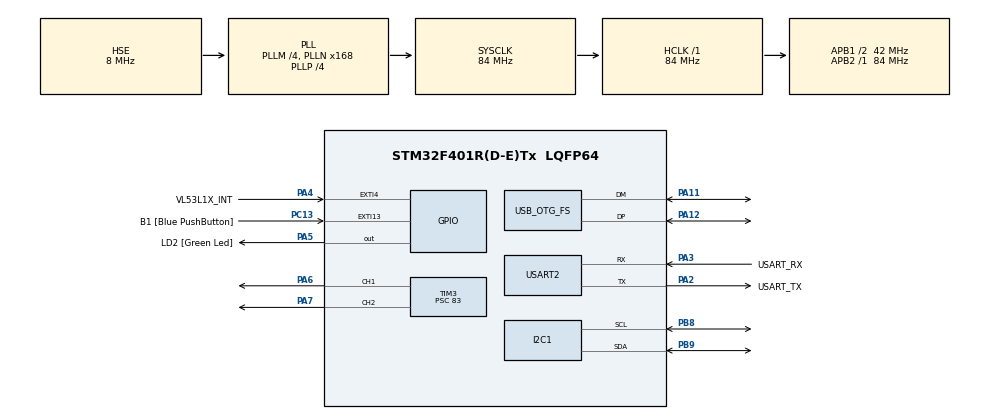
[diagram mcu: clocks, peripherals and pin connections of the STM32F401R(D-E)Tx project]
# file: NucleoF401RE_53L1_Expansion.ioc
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Mcu.Family=STM32F4
Mcu.Name=STM32F401R(D-E)Tx
Mcu.Package=LQFP64
NVIC.EXTI4_IRQn=true\:0\:0\:false\:false\:true\:true\:true
NVIC.PriorityGroup=NVIC_PRIORITYGROUP_0
NVIC.TIM1_UP_TIM10_IRQn=true\:0\:0\:false\:false\:true\:true\:true
PA11.Mode=Device_Only
PA11.Signal=USB_OTG_FS_DM
PA12.Mode=Device_Only
PA12.Signal=USB_OTG_FS_DP
PA13.GPIO_Label=TMS
PA13.Signal=SYS_JTMS-SWDIO
PA14.GPIO_Label=TCK
PA14.Signal=SYS_JTCK-SWCLK
PA2.GPIO_Label=USART_TX
PA2.GPIO_Mode=GPIO_MODE_AF_PP
PA2.GPIO_PuPd=GPIO_NOPULL
PA2.GPIO_Speed=GPIO_SPEED_FREQ_LOW
PA2.Mode=Asynchronous
PA2.Signal=USART2_TX
PA3.GPIO_Label=USART_RX
PA3.GPIO_Mode=GPIO_MODE_AF_PP
PA3.GPIO_PuPd=GPIO_NOPULL
PA3.GPIO_Speed=GPIO_SPEED_FREQ_LOW
PA3.Mode=Asynchronous
PA3.Signal=USART2_RX
PA4.GPIO_Label=VL53L1X_INT
PA4.GPIO_ModeDefaultEXTI=GPIO_MODE_IT_FALLING
PA4.GPIO_PuPd=GPIO_PULLUP
PA4.Signal=GPXTI4
PA5.GPIO_Label=LD2 [Green Led]
PA5.GPIO_Mode=GPIO_MODE_OUTPUT_PP
PA5.GPIO_PuPd=GPIO_NOPULL
PA5.GPIO_Speed=GPIO_SPEED_FREQ_LOW
PA5.Signal=GPIO_Output
PA6.Signal=S_TIM3_CH1
PA7.Signal=S_TIM3_CH2
PB3.GPIO_Label=SWO
PB3.Signal=SYS_JTDO-SWO
PB8.GPIO_Pu=GPIO_PULLUP
PB8.Mode=I2C
PB8.Signal=I2C1_SCL
PB9.GPIO_Pu=GPIO_PULLUP
PB9.Mode=I2C
PB9.Signal=I2C1_SDA
PC13-ANTI_TAMP.GPIO_Label=B1 [Blue PushButton]
PC13-ANTI_TAMP.GPIO_ModeDefaultEXTI=GPIO_MODE_IT_FALLING
PC13-ANTI_TAMP.GPIO_PuPd=GPIO_NOPULL
PC13-ANTI_TAMP.Signal=GPXTI13
PC14-OSC32_IN.Signal=RCC_OSC32_IN
PC15-OSC32_OUT.Signal=RCC_OSC32_OUT
PH0\ -\ OSC_IN.Signal=RCC_OSC_IN
PH1\ -\ OSC_OUT.Signal=RCC_OSC_OUT
ProjectManager.HeapSize=0x200
ProjectManager.StackSize=0x400
ProjectManager.TargetToolchain=STM32CubeIDE
RCC.AHBFreq_Value=84000000
RCC.APB1CLKDivider=RCC_HCLK_DIV2
RCC.APB1Freq_Value=42000000
RCC.APB1TimFreq_Value=84000000
RCC.APB2Freq_Value=84000000
RCC.APB2TimFreq_Value=84000000
RCC.CortexFreq_Value=84000000
RCC.HCLKFreq_Value=84000000
RCC.HSE_VALUE=8000000
RCC.HSI_VALUE=16000000
RCC.LSE_VALUE=32768
RCC.PLLN=336
RCC.PLLP=RCC_PLLP_DIV4
RCC.PLLQ=7
RCC.PLLSource=RCC_PLLSOURCE_HSI
RCC.SYSCLKFreq_VALUE=84000000
RCC.SYSCLKSource=RCC_SYSCLKSOURCE_PLLCLK
RCC.VCOOutputFreq_Value=336000000
SH.S_TIM3_CH1.0=TIM3_CH1,PWM Generation1 CH1
SH.S_TIM3_CH2.0=TIM3_CH2,PWM Generation2 CH2
TIM10.AutoReloadPreload=TIM_AUTORELOAD_PRELOAD_ENABLE
TIM10.Period=19999
TIM10.Prescaler=166
TIM3.AutoReloadPreload=TIM_AUTORELOAD_PRELOAD_ENABLE
TIM3.Channel-PWM\ Generation1\ CH1=TIM_CHANNEL_1
TIM3.Channel-PWM\ Generation2\ CH2=TIM_CHANNEL_2
TIM3.Period=19999
TIM3.Prescaler=83
USART2.VirtualMode=VM_ASYNC
USB_OTG_FS.VirtualMode=Device_Only
VP_TIM10_VS_ClockSourceINT.Mode=Enable_Timer
board=NUCLEO-F401RE

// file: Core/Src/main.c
/* USER CODE BEGIN Header */
/**
 ****************************************************************************
 * @file           : main.c
 * @brief          : Main program body
 * @author			: Konrad Kacper Domian
 ****************************************************************************
 * @attention
 *
 *	The program was created as a final project forthe subject of PMIK,
 *	taught at the Faculty of Electronics and Information Technology,
 *	Warsaw University of Technology. The project was made in the winter semester
 *	of 2021-2022. The project is based on the development of the LIDAR scanner.
 *	ReadME and documentation can be found at the link:
 *
 *
 ****************************************************************************
 */
/* USER CODE END Header */
#include "main.h"
#include "i2c.h"
#include "tim.h"
#include "usart.h"
#include "usb_device.h"
#include "gpio.h"

/* USER CODE BEGIN PD */
#define MAX_SIZE_OF_USB_MESSEGE 40 //Size in chars of messenge send thru USB port
#define HIGH_OF_SCAN 10 //Number of move Z servo
#define SCALING_OF_X_AXES 57 //Number of move X servo (57 - 360degres)
#define isAutonomousExample 1  /* Allow to select either autonomous ranging or fast ranging example */
#define isInterrupt 0 /* If isInterrupt = 1 then device working in interrupt mode, else device working in polling mode */
/* USER CODE END PD */

/* USER CODE BEGIN PV */
/* Private variables ---------------------------------------------------------*/
I2C_HandleTypeDef hi2c1;
UART_HandleTypeDef huart2;
VL53L1_Dev_t devCenter;
VL53L1_Dev_t devLeft;
VL53L1_Dev_t devRight;
VL53L1_DEV Dev = &devCenter;
int status;
volatile int IntCount;

/* USER CODE END PV */

void SystemClock_Config(void);
void SystemClock_Config(void);
void Error_Handler(void);
void MX_GPIO_Init(void);
void MX_USART2_UART_Init(void);
void MX_I2C1_Init(void);
void AutonomousLowPowerRangingTest(void);
void InitializePeripherals(void);
void Reset3TofsensorOn53L1A1(uint8_t ToFSensor);
void SetNewI2CAdressOn53L1A1(uint8_t ToFSensor);
void TakeDataFrom53L1A1(uint8_t ToFSensor,
		VL53L1_RangingMeasurementData_t *RangingData);
void PrintDistanceOnTerminal(uint8_t ToFSensor,
		VL53L1_RangingMeasurementData_t *RangingData);
struct Voxel* Make3Dscan(uint8_t ToFSensor);
void SendScanToComputer(struct Voxel *Scan, int NumberOfElementsInArray);
/* USER CODE END PFP */

/* USER CODE BEGIN 0 */
#define PUTCHAR_PROTOTYPE int fputc(int ch, FILE *f)

PUTCHAR_PROTOTYPE {
	HAL_UART_Transmit(&huart2, (uint8_t*) &ch, 1, 0xFFFF);
	return ch;
}

void HAL_GPIO_EXTI_Callback(uint16_t GPIO_Pin) {
	if (GPIO_Pin == VL53L1X_INT_Pin) {
		IntCount++;
	}
}

struct Voxel {
	int x;
	int y;
	int z;
};

struct {
	uint8_t DataToSend[MAX_SIZE_OF_USB_MESSEGE];
	uint8_t MessengeLenght;
} USBmessege;

struct {
	uint8_t DataReceived[MAX_SIZE_OF_USB_MESSEGE];
	uint8_t MessengeLenght;
} USBreceived;
uint8_t StartScan = 0;
/* USER CODE END 0 */

int main(void) {
	/* USER CODE BEGIN 1 */

	uint8_t ToFSensor = 1; // 0=Left, 1=Center(default), 2=Right

	/* MCU Configuration----------------------------------------------------------*/

	/* Reset of all peripherals, Initializes the Flash interface and the Systick. */
	HAL_Init();

	/* Configure the system clock */
	SystemClock_Config();

	/* Initialize all configured peripherals */
	InitializePeripherals();

	/* USER CODE END 1 */

	/* MCU Configuration--------------------------------------------------------*/

	/* Reset of all peripherals, Initializes the Flash interface and the Systick. */
	HAL_Init();

	/* USER CODE BEGIN Init */
	Reset3TofsensorOn53L1A1(ToFSensor);
	SetNewI2CAdressOn53L1A1(ToFSensor);

	/* USER CODE END Init */

	/* Configure the system clock */
	SystemClock_Config();

	/* Initialize all configured peripherals */
	MX_GPIO_Init();
	MX_I2C1_Init();
	MX_USART2_UART_Init();
	MX_TIM3_Init();
	MX_TIM10_Init();
	MX_USB_DEVICE_Init();
	/* USER CODE BEGIN 2 */
	InitAR3603HB();

	/* USER CODE END 2 */

	/* Infinite loop */
	while (1) {
		if (StartScan == 1) {
			StartScan = 0;
			Make3Dscan (ToFSensor);
		}
	}
}

void SystemClock_Config(void) {
	RCC_OscInitTypeDef RCC_OscInitStruct = { 0 };
	RCC_ClkInitTypeDef RCC_ClkInitStruct = { 0 };

	/** Configure the main internal regulator output voltage
	 */
	__HAL_RCC_PWR_CLK_ENABLE();
	__HAL_PWR_VOLTAGESCALING_CONFIG(PWR_REGULATOR_VOLTAGE_SCALE2);
	/** Initializes the RCC Oscillators according to the specified parameters
	 * in the RCC_OscInitTypeDef structure.
	 */
	RCC_OscInitStruct.OscillatorType = RCC_OSCILLATORTYPE_HSE;
	RCC_OscInitStruct.HSEState = RCC_HSE_ON;
	RCC_OscInitStruct.PLL.PLLState = RCC_PLL_ON;
	RCC_OscInitStruct.PLL.PLLSource = RCC_PLLSOURCE_HSE;
	RCC_OscInitStruct.PLL.PLLM = 4;
	RCC_OscInitStruct.PLL.PLLN = 168;
	RCC_OscInitStruct.PLL.PLLP = RCC_PLLP_DIV4;
	RCC_OscInitStruct.PLL.PLLQ = 7;
	if (HAL_RCC_OscConfig(&RCC_OscInitStruct) != HAL_OK) {
		Error_Handler();
	}
	/** Initializes the CPU, AHB and APB buses clocks
	 */
	RCC_ClkInitStruct.ClockType = RCC_CLOCKTYPE_HCLK | RCC_CLOCKTYPE_SYSCLK
			| RCC_CLOCKTYPE_PCLK1 | RCC_CLOCKTYPE_PCLK2;
	RCC_ClkInitStruct.SYSCLKSource = RCC_SYSCLKSOURCE_PLLCLK;
	RCC_ClkInitStruct.AHBCLKDivider = RCC_SYSCLK_DIV1;
	RCC_ClkInitStruct.APB1CLKDivider = RCC_HCLK_DIV2;
	RCC_ClkInitStruct.APB2CLKDivider = RCC_HCLK_DIV1;

	if (HAL_RCC_ClockConfig(&RCC_ClkInitStruct, FLASH_LATENCY_2) != HAL_OK) {
		Error_Handler();
	}
}

/* USER CODE BEGIN 4 */
/**
 * @brief InitializeAllPeripherals
 * @retval None
 */
void InitializePeripherals(void) {
	MX_GPIO_Init();
	MX_USART2_UART_Init();
	MX_I2C1_Init();
	XNUCLEO53L1A1_Init();

}
/**
 * @brief  Take Data From 53L1A1 Laser Flying radar
 * @retval void
 */
void TakeDataFrom53L1A1(uint8_t ToFSensor,
		VL53L1_RangingMeasurementData_t *RangingData) {
	for (ToFSensor = 0; ToFSensor < 3; ToFSensor++) {
		switch (ToFSensor) {
		case 0:
			Dev = &devLeft;
			break;
		case 1:
			Dev = &devCenter;
			break;
		case 2:
			Dev = &devRight;
		}
		status = VL53L1_StartMeasurement(Dev);
		status = VL53L1_WaitMeasurementDataReady(Dev);
	}
}
/**
 * @brief  The scannig fun.
 * @retval pointer to struct Voxel
 */
struct Voxel* Make3Dscan(uint8_t ToFSensor) {
	static VL53L1_RangingMeasurementData_t RangingData;
	static struct Voxel Scan[HIGH_OF_SCAN * SCALING_OF_X_AXES];
	USBmessege.MessengeLenght = sprintf(USBmessege.DataToSend, "Scanning\n");
	CDC_Transmit_FS(USBmessege.DataToSend, USBmessege.MessengeLenght);
	int iteration = 0;
	for (int j = 0; j < HIGH_OF_SCAN; j++) {
		for (int i = 0; i < SCALING_OF_X_AXES; i++) {
			TakeDataFrom53L1A1(ToFSensor, &RangingData);
			MoveAR3603HB(10, 1, isInterrupt);
			PrintDistanceOnTerminal(ToFSensor, &RangingData);
			Scan[iteration].x = i;
			Scan[iteration].y = RangingData.RangeMilliMeter;
			Scan[iteration].z = j;
			iteration++;
		}
		MoveAR3603HB(100, 2, isInterrupt);

	}
	SendScanToComputer(Scan, iteration);
	USBmessege.MessengeLenght = sprintf(USBmessege.DataToSend,
			"Scanning finish\n");
	CDC_Transmit_FS(USBmessege.DataToSend, USBmessege.MessengeLenght);

	return Scan;
}
/**
 * @brief  Function to Send Scan file to the computer
 * @retval void
 */
void SendScanToComputer(struct Voxel *Scan, int NumberOfElementsInArray) {

	for (int i = 0; i < NumberOfElementsInArray; i++) {
		USBmessege.MessengeLenght = sprintf(USBmessege.DataToSend, "%d %d %d\n", (Scan + i)->x, (Scan + i)->y, (Scan + i)->z);
		CDC_Transmit_FS(USBmessege.DataToSend, USBmessege.MessengeLenght);
	}

}
/**
 * @brief  Reset 53L1A1 Laser Flying radar
 * @retval void
 */
void Reset3TofsensorOn53L1A1(u_int8_t ToFSensor) {
	for (ToFSensor = 0; ToFSensor < 3; ToFSensor++) {
		status = XNUCLEO53L1A1_ResetId(ToFSensor, 0);
	}
}
/**
 * @brief  Print Data from 53L1A1 Laser Flying radar
 * @retval void
 */
void PrintDistanceOnTerminal(uint8_t ToFSensor,
		VL53L1_RangingMeasurementData_t *RangingData) {
	if (!status) {
		status = VL53L1_GetRangingMeasurementData(Dev, RangingData);
		if (status == 0) {
			printf("%d,%d,%d,%.2f,%.2f\n", ToFSensor, RangingData->RangeStatus,
					RangingData->RangeMilliMeter, // @suppress("Float formatting support")
					(RangingData->SignalRateRtnMegaCps / 65536.0),
					RangingData->AmbientRateRtnMegaCps / 65336.0);
		}
		status = VL53L1_ClearInterruptAndStartMeasurement(Dev);
	}
}
/**
 * @brief  Set adress I2C 53L1A1 Laser Flying radar
 * @retval void
 */
void SetNewI2CAdressOn53L1A1(uint8_t ToFSensor) {
	uint16_t wordData;
	uint8_t newI2C = 0x52;
	for (ToFSensor = 0; ToFSensor < 3; ToFSensor++) {
		switch (ToFSensor) {
		case 0:
			Dev = &devLeft;
			break;
		case 1:
			Dev = &devCenter;
			break;
		case 2:
			Dev = &devRight;
			break;
		}
		status = XNUCLEO53L1A1_ResetId(ToFSensor, 1);
		Dev->comms_speed_khz = 400;
		Dev->I2cHandle = &hi2c1;
		Dev->comms_type = 1;
		Dev->I2cDevAddr = 0x52; /* default ToF sensor I2C address*/
		VL53L1_RdWord(Dev, 0x010F, &wordData);
		printf("VL53L1X: %02X\n\r", wordData);
		newI2C = Dev->I2cDevAddr + (ToFSensor + 1) * 2;
		status = VL53L1_SetDeviceAddress(Dev, newI2C);
		Dev->I2cDevAddr = newI2C;
		VL53L1_RdWord(Dev, 0x010F, &wordData);
		printf("VL53L1X: %02X\n\r", wordData);
		/* Device Initialization and setting */
		status = VL53L1_WaitDeviceBooted(Dev);
		status = VL53L1_DataInit(Dev);
		status = VL53L1_StaticInit(Dev);
		status = VL53L1_SetDistanceMode(Dev, VL53L1_DISTANCEMODE_LONG);
		status = VL53L1_SetMeasurementTimingBudgetMicroSeconds(Dev, 50000);
		status = VL53L1_SetInterMeasurementPeriodMilliSeconds(Dev, 100);
	}
}

/* Autonomous ranging loop*/
void AutonomousLowPowerRangingTest(void) {
	static VL53L1_RangingMeasurementData_t RangingData;
	status = VL53L1_WaitDeviceBooted(Dev);
	status = VL53L1_DataInit(Dev);
	status = VL53L1_StaticInit(Dev);
	status = VL53L1_SetDistanceMode(Dev, VL53L1_DISTANCEMODE_LONG);
	status = VL53L1_SetMeasurementTimingBudgetMicroSeconds(Dev, 50000);
	status = VL53L1_SetInterMeasurementPeriodMilliSeconds(Dev, 500);
	status = VL53L1_StartMeasurement(Dev);

	if (status) {
		printf("VL53L1_StartMeasurement failed \n");
		while (1)
			;
	}
	if (isInterrupt) {
		do // interrupt mode
		{
			__WFI();
			if (IntCount != 0) {
				IntCount = 0;
				status = VL53L1_GetRangingMeasurementData(Dev, &RangingData);
				if (status == 0) {
					printf("%d,%d,%.2f,%.2f\n", RangingData.RangeStatus,
							RangingData.RangeMilliMeter, // @suppress("Float formatting support")
							RangingData.SignalRateRtnMegaCps / 65536.0,
							RangingData.AmbientRateRtnMegaCps / 65336.0);
				}
				status = VL53L1_ClearInterruptAndStartMeasurement(Dev);
			}
		} while (1);
	} else {
		do // polling mode
		{
			status = VL53L1_WaitMeasurementDataReady(Dev);
			if (!status) {
				status = VL53L1_GetRangingMeasurementData(Dev, &RangingData);
				if (status == 0) {
					printf("%d,%d,%.2f,%.2f\n", RangingData.RangeStatus,
							RangingData.RangeMilliMeter,
							(RangingData.SignalRateRtnMegaCps / 65536.0),
							RangingData.AmbientRateRtnMegaCps / 65336.0);
				}
				status = VL53L1_ClearInterruptAndStartMeasurement(Dev);
			}
		} while (1);
	}
//  return status;
}

/* USER CODE END 4 */

void Error_Handler(void) {
	__disable_irq();
	while (1) {
	}
}

/************************ (C) COPYRIGHT STMicroelectronics *****END OF FILE****/
